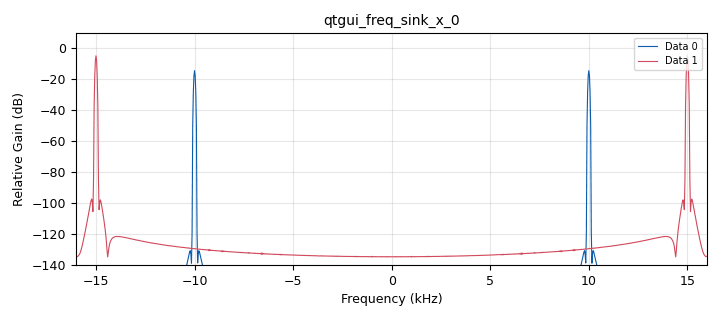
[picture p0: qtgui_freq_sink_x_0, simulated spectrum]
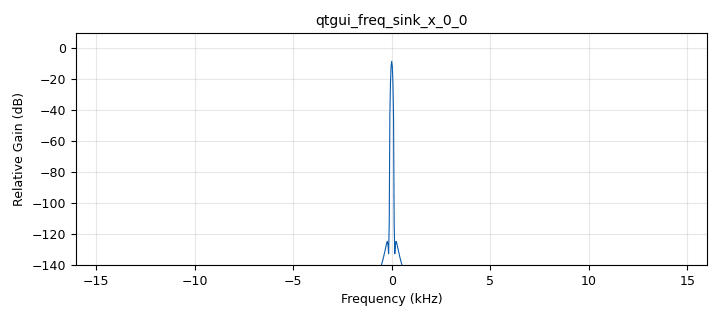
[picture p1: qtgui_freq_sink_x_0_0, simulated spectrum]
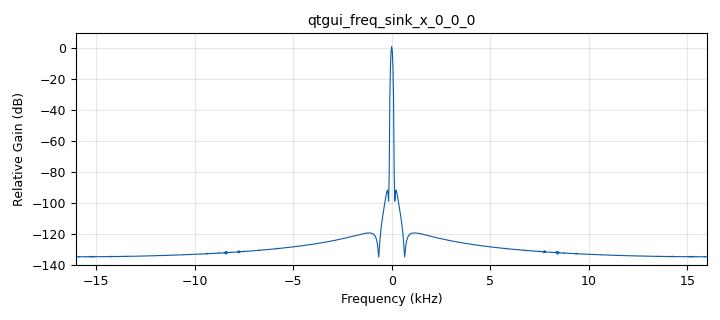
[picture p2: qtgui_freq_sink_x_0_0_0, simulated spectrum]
options:
  parameters:
    generate_options: qt_gui
    id: transportando_sinais
    output_language: python
    title: transportando_sinais
  states: {}

blocks:
- name: fc1
  id: variable_qtgui_range
  parameters:
    label: fc1
    start: '0'
    step: '1000'
    stop: '20000'
    value: '10000'
  states: {}
- name: fc2
  id: variable_qtgui_range
  parameters:
    label: fc2
    start: '0'
    step: '1000'
    stop: '20000'
    value: '15000'
  states: {}
- name: samp_rate
  id: variable
  parameters:
    value: '32000'
  states: {}
- name: analog_sig_source_x_0
  id: analog_sig_source_x
  parameters:
    amp: '2'
    freq: '1'
    offset: '0'
    phase: '0'
    samp_rate: samp_rate
    type: float
    waveform: analog.GR_TRI_WAVE
  states: {}
- name: analog_sig_source_x_0_0
  id: analog_sig_source_x
  parameters:
    amp: '10'
    freq: '10'
    offset: '0'
    phase: '0'
    samp_rate: samp_rate
    type: float
    waveform: analog.GR_TRI_WAVE
  states: {}
- name: analog_sig_source_x_1
  id: analog_sig_source_x
  parameters:
    amp: '1'
    freq: fc1
    offset: '0'
    phase: '0'
    samp_rate: samp_rate
    type: float
    waveform: analog.GR_COS_WAVE
  states: {}
- name: analog_sig_source_x_1_0
  id: analog_sig_source_x
  parameters:
    amp: '1'
    freq: fc2
    offset: '0'
    phase: '0'
    samp_rate: samp_rate
    type: float
    waveform: analog.GR_COS_WAVE
  states: {}
- name: blocks_multiply_xx_0
  id: blocks_multiply_xx
  parameters:
    type: float
  states: {}
- name: blocks_multiply_xx_0_0
  id: blocks_multiply_xx
  parameters:
    type: float
  states: {}
- name: blocks_throttle2_0
  id: blocks_throttle2
  parameters:
    samples_per_second: samp_rate
    type: float
  states: {}
- name: blocks_throttle2_0_0
  id: blocks_throttle2
  parameters:
    samples_per_second: samp_rate
    type: float
  states: {}
- name: qtgui_freq_sink_x_0
  id: qtgui_freq_sink_x
  parameters:
    bw: samp_rate
    fc: '0'
    fftsize: '1024'
    gui_hint: (1,0,1,2)
    nconnections: '2'
    type: float
  states: {}
- name: qtgui_freq_sink_x_0_0
  id: qtgui_freq_sink_x
  parameters:
    bw: samp_rate
    fc: '0'
    fftsize: '1024'
    gui_hint: (0,0)
    type: float
  states: {}
- name: qtgui_freq_sink_x_0_0_0
  id: qtgui_freq_sink_x
  parameters:
    bw: samp_rate
    fc: '0'
    fftsize: '1024'
    gui_hint: (0,1)
    type: float
  states: {}

connections:
- [analog_sig_source_x_0, '0', blocks_throttle2_0, '0']
- [analog_sig_source_x_0_0, '0', blocks_throttle2_0_0, '0']
- [analog_sig_source_x_1, '0', blocks_multiply_xx_0, '0']
- [analog_sig_source_x_1_0, '0', blocks_multiply_xx_0_0, '1']
- [blocks_multiply_xx_0, '0', qtgui_freq_sink_x_0, '0']
- [blocks_multiply_xx_0_0, '0', qtgui_freq_sink_x_0, '1']
- [blocks_throttle2_0, '0', blocks_multiply_xx_0, '1']
- [blocks_throttle2_0, '0', qtgui_freq_sink_x_0_0, '0']
- [blocks_throttle2_0_0, '0', blocks_multiply_xx_0_0, '0']
- [blocks_throttle2_0_0, '0', qtgui_freq_sink_x_0_0_0, '0']

metadata:
  file_format: 1
  grc_version: 3.10.12.0
